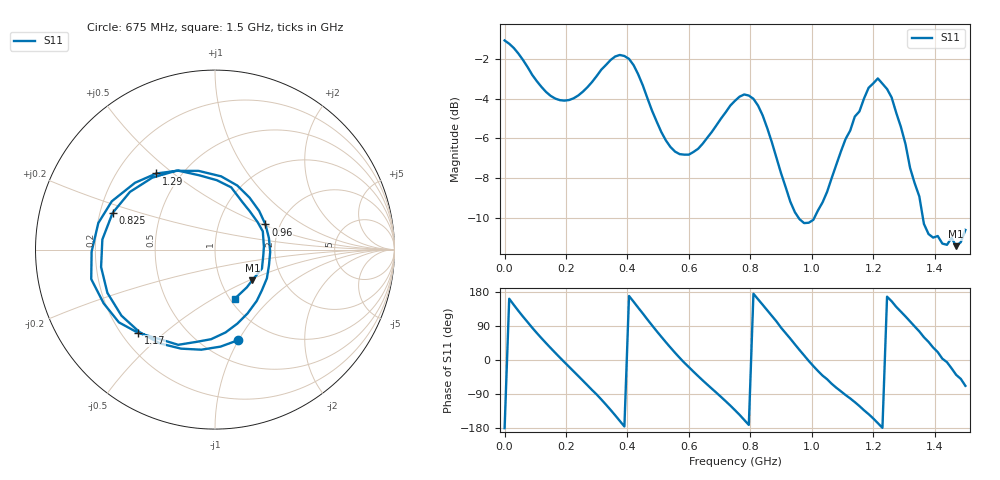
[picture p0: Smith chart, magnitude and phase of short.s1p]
! Created with skrf 1.8.0 (http://scikit-rf.org).
# Hz S RI R 50.0
!freq ReS11 ImS11
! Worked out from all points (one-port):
!   101 points, 50 kHz to 1.5 GHz, reference 50 ohm
!   lowest |S11| = -11.4 dB at 1.47 GHz (marker M1), VSWR 1.74, Z = 70.7 - j25.9 ohm
!   |S11| at or under -10 dB: 957.6 MHz to 1.008 GHz (50.19 MHz wide, 5.11 % of centre); 1.362 GHz to end of sweep
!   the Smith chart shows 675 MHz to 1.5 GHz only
!   S11 on the Smith chart (normalised r, x): 675 MHz: 0.72, -0.99; 825 MHz: 0.25, +0.16; 960 MHz: 1.68, +0.52; 1.17 GHz: 0.27, -0.41; 1.29 GHz: 0.37, +0.44; 1.5 GHz: 1.05, -0.63
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50000  -0.8829 -0.00147
4.50485e7  -0.5212 0.6308
7.50475e7  -0.1291 0.7456
1.350455e8  0.468 0.4591
1.950435e8  0.6202 -0.0644
2.40042e8  0.4749 -0.4329
3.0004e8  -0.0155 -0.7192
3.450385e8  -0.5236 -0.5896
3.750375e8  -0.7665 -0.2677
4.20036e8  -0.6863 0.3389
4.650345e8  -0.1822 0.6052
5.10033e8  0.2483 0.4572
5.70031e8  0.4553 0.0452
6.750275e8  0.127 -0.5052
7.50025e8  -0.4209 -0.4594
8.250225e8  -0.5705 0.2042
8.70021e8  -0.2182 0.4388
9.450185e8  0.2458 0.2159
9.60018e8  0.2812 0.1401
1.050015e9  0.2328 -0.2854
1.125012e9  -0.103 -0.514
1.170011e9  -0.4277 -0.4643
1.230009e9  -0.6875 -0.0116
1.290007e9  -0.3272 0.4241
1.320006e9  -0.0859 0.4135
1.395004e9  0.2372 0.1533
1.470001e9  0.2082 -0.17
1.5e9  0.1097 -0.2741
